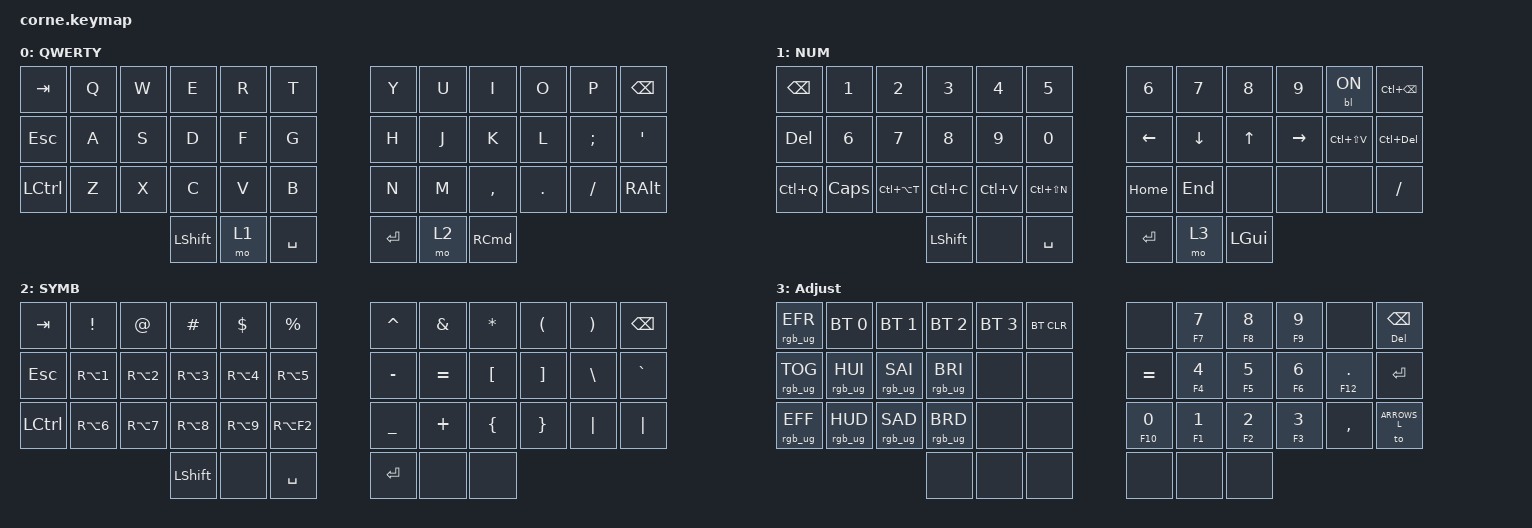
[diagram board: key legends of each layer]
/*
 * Copyright (c) 2020 The ZMK Contributors
 *
 * SPDX-License-Identifier: MIT
 */

#include <behaviors.dtsi>
#include <dt-bindings/zmk/backlight.h>
#include <dt-bindings/zmk/bt.h>
#include <dt-bindings/zmk/keys.h>
#include <dt-bindings/zmk/rgb.h>

#define DEFAULT_L 0
#define SYMBOLS_L 1
#define ARROWS_L  2
#define NUMBERS_L 3

/ {
    behaviors {
        hm: homerow_mods {
            compatible = "zmk,behavior-hold-tap";
            label = "HOMEROW_MODS";
            #binding-cells = <2>;
            tapping-term-ms = <300>;
            quick-tap-ms = <200>;
            flavor = "tap-preferred";
            bindings = <&kp>, <&kp>;
        };
    };

    keymap {
        compatible = "zmk,keymap";

        QWERTY_layer {
            label = "QWERTY";
            bindings = <
&kp TAB           &kp Q  &kp W  &kp E           &kp R  &kp T        &kp Y      &kp U  &kp I              &kp O       &kp P          &kp BSPC
&kp ESCAPE        &kp A  &kp S  &kp D           &kp F  &kp G        &kp H      &kp J  &kp K              &kp L       &kp SEMICOLON  &kp SINGLE_QUOTE
&kp LEFT_CONTROL  &kp Z  &kp X  &kp C           &kp V  &kp B        &kp N      &kp M  &kp COMMA          &kp PERIOD  &kp SLASH      &kp RIGHT_ALT
                                &kp LEFT_SHIFT  &mo 1  &kp SPACE    &kp ENTER  &mo 2  &kp RIGHT_COMMAND
            >;
        };

        Number_layer {
            label = "NUM";
            bindings = <
&kp BACKSPACE  &kp NUMBER_1  &kp NUMBER_2   &kp NUMBER_3    &kp NUMBER_4  &kp N5           &kp NUMBER_6    &kp N7          &kp N8        &kp N9           &bl BL_ON      &kp LC(BACKSPACE)
&kp DELETE     &kp NUMBER_6  &kp NUMBER_7   &kp NUMBER_8    &kp NUMBER_9  &kp N0           &kp LEFT_ARROW  &kp DOWN_ARROW  &kp UP_ARROW  &kp RIGHT_ARROW  &kp LC(LS(V))  &kp LC(DEL)
&kp LC(Q)      &kp CAPSLOCK  &kp LC(LA(T))  &kp LC(C)       &kp LC(V)     &kp LC(LS(N))    &kp HOME        &kp END         &none         &none            &none          &kp SLASH
                                            &kp LEFT_SHIFT  &none         &kp SPACE        &kp ENTER       &mo 3           &kp LEFT_GUI
            >;
        };

        Symbols_layer {
            label = "SYMB";
            bindings = <
&kp TAB           &kp EXCLAMATION   &kp AT_SIGN       &kp HASH          &kp DOLLAR        &kp PERCENT    &kp CARET       &kp AMPERSAND  &kp ASTERISK      &kp LEFT_PARENTHESIS  &kp RIGHT_PARENTHESIS  &kp BSPC
&kp ESCAPE        &kp RA(NUMBER_1)  &kp RA(NUMBER_2)  &kp RA(NUMBER_3)  &kp RA(NUMBER_4)  &kp RA(N5)     &kp MINUS       &kp EQUAL      &kp LEFT_BRACKET  &kp RIGHT_BRACKET     &kp BACKSLASH          &kp GRAVE
&kp LEFT_CONTROL  &kp RA(NUMBER_6)  &kp RA(N7)        &kp RA(N8)        &kp RA(N9)        &kp RA(F2)     &kp UNDERSCORE  &kp PLUS       &kp LEFT_BRACE    &kp RIGHT_BRACE       &kp PIPE               &kp PIPE
                                                      &kp LSHIFT        &none             &kp SPACE      &kp ENTER       &none          &none
            >;
        };

        adjust_layer {
            label = "Adjust";
            bindings = <
&rgb_ug RGB_EFR  &bt BT_SEL 0     &bt BT_SEL 1     &bt BT_SEL 2     &bt BT_SEL 3  &bt BT_CLR    &none       &hm F7 N7  &hm F8 N8  &hm F9 N9  &none        &hm DEL BSPC
&rgb_ug RGB_TOG  &rgb_ug RGB_HUI  &rgb_ug RGB_SAI  &rgb_ug RGB_BRI  &none         &none         &kp EQUAL   &hm F4 N4  &hm F5 N5  &hm F6 N6  &hm F12 DOT  &kp RET
&rgb_ug RGB_EFF  &rgb_ug RGB_HUD  &rgb_ug RGB_SAD  &rgb_ug RGB_BRD  &none         &none         &hm F10 N0  &hm F1 N1  &hm F2 N2  &hm F3 N3  &kp COMMA    &to ARROWS_L
                                                   &none            &none         &none         &none       &none      &none
            >;
        };
    };
};
